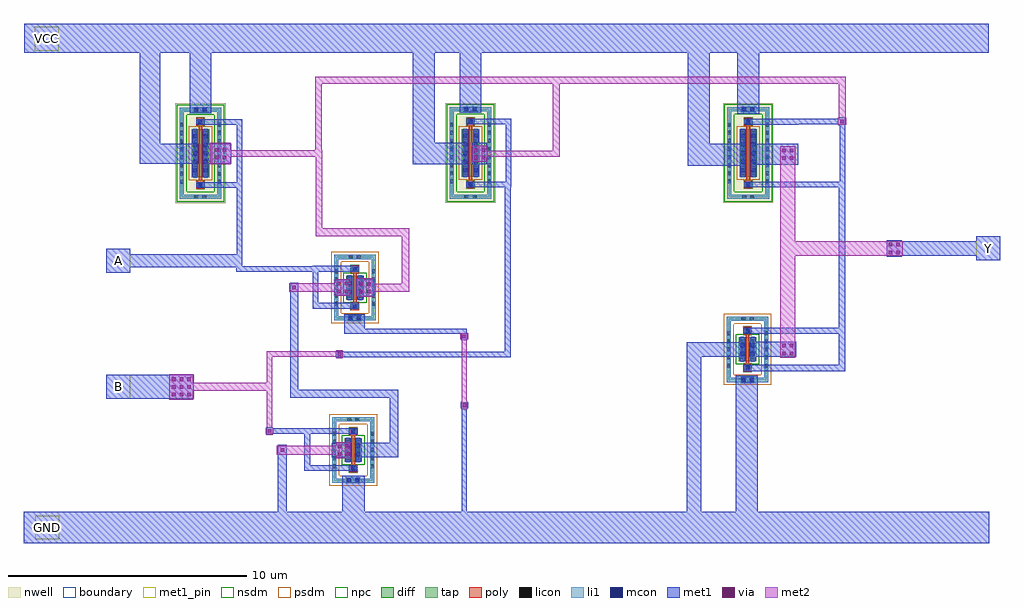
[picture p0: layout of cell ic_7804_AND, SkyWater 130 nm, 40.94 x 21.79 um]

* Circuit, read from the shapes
.subckt ic_7804_AND A B GND VCC Y
XM1 n1 B GND GND sky130_fd_pr__nfet_01v8 w=1 l=0.15
XM2 n2 A n1 GND sky130_fd_pr__nfet_01v8 w=1 l=0.15
XM3 Y n2 GND GND sky130_fd_pr__nfet_01v8 w=1 l=0.15
XM4 n2 A VCC VCC sky130_fd_pr__pfet_01v8 w=2 l=0.15
XM5 n2 B VCC VCC sky130_fd_pr__pfet_01v8 w=2 l=0.15
XM6 Y n2 VCC VCC sky130_fd_pr__pfet_01v8 w=2 l=0.15
.ends

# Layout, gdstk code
import gdstk
lib = gdstk.Library(unit=1e-6, precision=1e-09)
def R(c, l, rs):  # rectangles x0, y0, x1, y1
    for r in rs: c.add(gdstk.rectangle(r[:2], r[2:], *l))
def A(c, l, x, y, w, h, nx, ny, dx, dy):  # array of equal rectangles
    R(c, l, [(x+i*dx, y+j*dy, x+i*dx+w, y+j*dy+h) for i in range(nx) for j in range(ny)])
nwell = (64, 20)
diff = (65, 20)
tap = (65, 44)
poly = (66, 20)
licon = (66, 44)
li1 = (67, 20)
mcon = (67, 44)
met1_pin = (68, 16)
met1 = (68, 20)
via = (68, 44)
met2 = (69, 20)
nsdm = (93, 44)
psdm = (94, 20)
npc = (95, 20)
boundary = (235, 4)

sky130_fd_pr__nfet_01v8_ = lib.new_cell('sky130_fd_pr__nfet_01v8_648S5X')
R(sky130_fd_pr__nfet_01v8_, diff, [(-0.365,-0.5,0.365,0.5)])
R(sky130_fd_pr__nfet_01v8_, tap, [(-0.875,-1.37,0.875,-1.2), (-0.875,-1.2,-0.705,1.2), (0.705,-1.2,0.875,1.2), (-0.875,1.2,0.875,1.37)])
R(sky130_fd_pr__nfet_01v8_, poly, [(-0.165,-0.94,0.165,-0.61), (-0.075,-0.61,0.075,0.61), (-0.165,0.61,0.165,0.94)])
A(sky130_fd_pr__nfet_01v8_, licon, -0.875, -0.765, 0.17, 0.17, 1, 5, 0, 0.34)
A(sky130_fd_pr__nfet_01v8_, licon, 0.705, -0.765, 0.17, 0.17, 1, 5, 0, 0.34)
A(sky130_fd_pr__nfet_01v8_, licon, -0.305, -0.425, 0.17, 0.17, 1, 3, 0, 0.34)
A(sky130_fd_pr__nfet_01v8_, licon, 0.135, -0.425, 0.17, 0.17, 1, 3, 0, 0.34)
R(sky130_fd_pr__nfet_01v8_, licon, [(-0.255,-1.37,-0.085,-1.2), (0.085,-1.37,0.255,-1.2), (-0.085,-0.86,0.085,-0.69), (-0.085,0.69,0.085,0.86), (-0.255,1.2,-0.085,1.37), (0.085,1.2,0.255,1.37)])
R(sky130_fd_pr__nfet_01v8_, li1, [(-0.875,-1.37,0.875,-1.2), (-0.875,-1.2,-0.705,1.2), (0.705,-1.2,0.875,1.2), (-0.165,-0.86,0.165,-0.69), (-0.305,-0.52,-0.135,0.52), (0.135,-0.52,0.305,0.52), (-0.165,0.69,0.165,0.86), (-0.875,1.2,0.875,1.37)])
R(sky130_fd_pr__nfet_01v8_, mcon, [(-0.085,-0.86,0.085,-0.69), (-0.305,-0.265,-0.135,-0.095), (0.135,-0.265,0.305,-0.095), (-0.305,0.095,-0.135,0.265), (0.135,0.095,0.305,0.265), (-0.085,0.69,0.085,0.86)])
R(sky130_fd_pr__nfet_01v8_, met1, [(-0.145,-0.89,0.145,-0.66), (-0.335,-0.5,-0.105,0.5), (0.105,-0.5,0.335,0.5), (-0.145,0.66,0.145,0.89)])
R(sky130_fd_pr__nfet_01v8_, nsdm, [(-0.49,-0.625,0.49,0.625)])
R(sky130_fd_pr__nfet_01v8_, psdm, [(-1,-1.495,1,-1.075), (-1,-1.075,-0.58,1.075), (0.58,-1.075,1,1.075), (-1,1.075,1,1.495)])
R(sky130_fd_pr__nfet_01v8_, npc, [(-0.185,-0.96,0.185,-0.59), (-0.185,0.59,0.185,0.96)])
R(sky130_fd_pr__nfet_01v8_, boundary, [(-0.79,-1.285,0.79,1.285)])

sky130_fd_pr__pfet_01v8_ = lib.new_cell('sky130_fd_pr__pfet_01v8_XGAKDL')
R(sky130_fd_pr__pfet_01v8_, nwell, [(-1.055,-2.095,1.055,2.095)])
R(sky130_fd_pr__pfet_01v8_, diff, [(-0.365,-1,0.365,1)])
R(sky130_fd_pr__pfet_01v8_, tap, [(-0.875,-1.915,0.875,-1.745), (-0.875,-1.745,-0.705,1.745), (0.705,-1.745,0.875,1.745), (-0.875,1.745,0.875,1.915)])
R(sky130_fd_pr__pfet_01v8_, poly, [(-0.165,-1.485,0.165,-1.155), (-0.075,-1.155,0.075,1.155), (-0.165,1.155,0.165,1.485)])
A(sky130_fd_pr__pfet_01v8_, licon, -0.875, -1.275, 0.17, 0.17, 1, 8, 0, 0.34)
A(sky130_fd_pr__pfet_01v8_, licon, 0.705, -1.275, 0.17, 0.17, 1, 8, 0, 0.34)
A(sky130_fd_pr__pfet_01v8_, licon, -0.305, -0.935, 0.17, 0.17, 1, 6, 0, 0.34)
A(sky130_fd_pr__pfet_01v8_, licon, 0.135, -0.935, 0.17, 0.17, 1, 6, 0, 0.34)
R(sky130_fd_pr__pfet_01v8_, licon, [(-0.255,-1.915,-0.085,-1.745), (0.085,-1.915,0.255,-1.745), (-0.085,-1.405,0.085,-1.235), (-0.085,1.235,0.085,1.405), (-0.255,1.745,-0.085,1.915), (0.085,1.745,0.255,1.915)])
R(sky130_fd_pr__pfet_01v8_, li1, [(-0.875,-1.915,0.875,-1.745), (-0.875,-1.745,-0.705,1.745), (0.705,-1.745,0.875,1.745), (-0.165,-1.405,0.165,-1.235), (-0.305,-1.02,-0.135,1.02), (0.135,-1.02,0.305,1.02), (-0.165,1.235,0.165,1.405), (-0.875,1.745,0.875,1.915)])
A(sky130_fd_pr__pfet_01v8_, mcon, -0.305, -0.805, 0.17, 0.17, 1, 5, 0, 0.36)
A(sky130_fd_pr__pfet_01v8_, mcon, 0.135, -0.805, 0.17, 0.17, 1, 5, 0, 0.36)
R(sky130_fd_pr__pfet_01v8_, mcon, [(-0.085,-1.405,0.085,-1.235), (-0.085,1.235,0.085,1.405)])
R(sky130_fd_pr__pfet_01v8_, met1, [(-0.145,-1.435,0.145,-1.205), (-0.335,-1,-0.105,1), (0.105,-1,0.335,1), (-0.145,1.205,0.145,1.435)])
R(sky130_fd_pr__pfet_01v8_, nsdm, [(-1,-2.04,1,-1.62), (-1,-1.62,-0.58,1.62), (0.58,-1.62,1,1.62), (-1,1.62,1,2.04)])
R(sky130_fd_pr__pfet_01v8_, psdm, [(-0.49,-1.125,0.49,1.125)])
R(sky130_fd_pr__pfet_01v8_, npc, [(-0.185,-1.505,0.185,-1.135), (-0.185,1.135,0.185,1.505)])
R(sky130_fd_pr__pfet_01v8_, boundary, [(-0.79,-1.83,0.79,1.83)])

ic_7804_and = lib.new_cell('ic_7804_AND')
R(ic_7804_and, nwell, [(16.105,0.205,16.705,1.125), (26.99,2.345,27.91,2.4)])
R(ic_7804_and, li1, [(10.565,-13.145,11.18,-12.9), (27.125,-8.95,27.695,-8.68), (10.64,-6.35,11.23,-6.1), (4.14,2.41,4.795,2.635), (15.48,2.42,16.105,2.65), (27.13,2.42,27.755,2.65)])
R(ic_7804_and, mcon, [(10.605,-13.11,10.775,-12.94), (10.965,-13.11,11.135,-12.94), (27.145,-8.9,27.315,-8.73), (27.505,-8.9,27.675,-8.73), (10.67,-6.31,10.84,-6.14), (11.03,-6.31,11.2,-6.14), (4.2,2.435,4.37,2.605), (4.56,2.435,4.73,2.605), (15.525,2.45,15.695,2.62), (15.885,2.45,16.055,2.62), (27.175,2.45,27.345,2.62), (27.535,2.45,27.705,2.62)])
R(ic_7804_and, met1_pin, [(-2.455,-15.5,-1.455,-14.5), (0.52,-9.605,1.52,-8.605), (0.515,-4.315,1.515,-3.315), (37.005,-3.79,38.005,-2.79), (-2.475,4.995,-1.475,5.995)])
R(ic_7804_and, met1, [(-2.935,-15.66,37.545,-14.345), (7.705,-14.345,8.095,-11.535), (10.425,-14.345,11.355,-12.83), (15.435,-14.345,15.64,-10.005), (24.865,-14.345,25.48,-7.84), (26.915,-14.345,27.845,-8.645), (8.825,-12.63,11.03,-12.39), (8.825,-12.39,9.065,-11.075), (9.965,-12.065,10.8,-11.46), (10.99,-12.06,12.755,-11.455), (10.13,-11.46,10.8,-11.455), (12.415,-11.455,12.755,-9.555), (7.235,-11.12,7.495,-11.075), (7.235,-11.075,11.04,-10.84), (7.235,-10.84,7.495,-10.8), (8.835,-10.84,11.04,-10.835), (15.375,-10.005,15.695,-9.745), (0.52,-9.605,4.195,-8.605), (8.225,-9.555,12.755,-9.215), (8.225,-9.215,8.565,-7.11), (27.255,-8.44,31.515,-8.175), (31.25,-8.175,31.515,-6.88), (10.14,-7.865,10.46,-7.855), (10.14,-7.855,17.475,-7.62), (27.505,-7.845,29.45,-7.22), (24.865,-7.84,27.32,-7.225), (10.14,-7.62,10.46,-7.605), (17.24,-7.62,17.475,-0.73), (15.4,-7.145,15.66,-6.88), (8.225,-7.11,8.57,-6.77), (10.82,-6.885,11.03,-6.88), (10.49,-6.88,15.66,-6.825), (27.26,-6.88,31.515,-6.615), (10.49,-6.825,15.63,-6.675), (8.225,-6.77,8.565,-4.735), (10.49,-6.675,11.36,-6.05), (31.25,-6.615,31.515,-0.735), (9.175,-5.82,11.065,-5.58), (9.175,-5.58,9.415,-4.275), (11.035,-5.3,11.49,-5.295), (10.995,-5.295,11.765,-4.585), (10.07,-5.26,10.805,-4.61), (0.515,-4.315,1.515,-4.085), (5.97,-4.275,9.415,-4.27), (5.97,-4.27,11.075,-4.085), (0.515,-4.085,11.075,-4.04), (0.515,-4.04,6.22,-3.54), (9.175,-4.04,11.075,-4.03), (37.005,-3.79,38.005,-3.61), (33.265,-3.64,33.89,-3.61), (33.265,-3.61,38.005,-2.985), (0.515,-3.54,1.515,-3.315), (5.985,-3.54,6.22,-0.75), (33.265,-2.985,33.89,-2.955), (37.005,-2.985,38.005,-2.79), (4.325,-0.75,6.225,-0.515), (27.305,-0.735,31.515,-0.495), (15.625,-0.73,17.505,-0.495), (5.985,-0.515,6.225,-0.51), (5.99,-0.51,6.225,1.885), (17.24,-0.495,17.505,-0.49), (31.275,-0.495,31.515,1.86), (17.27,-0.49,17.505,1.905), (24.905,0.165,27.35,1.09), (27.54,0.215,29.55,1.1), (13.365,0.225,15.69,1.145), (15.875,0.225,16.475,0.38), (1.92,0.255,4.38,1.105), (4.57,0.255,5.765,1.105), (15.845,0.38,16.505,0.98), (15.875,0.98,16.475,1.145), (24.905,1.09,25.83,4.91), (1.92,1.105,2.77,4.91), (13.365,1.145,14.285,4.91), (31.235,1.86,31.52,1.91), (4.325,1.885,6.225,2.12), (27.31,1.895,29.545,1.91), (15.64,1.905,17.505,2.14), (27.31,1.91,31.52,2.135), (31.235,2.135,31.52,2.21), (26.99,2.345,27.91,4.91), (4.02,2.365,4.91,4.91), (15.335,2.39,16.25,4.91), (-2.92,4.91,37.525,6.125)])
A(ic_7804_and, via, 3.27, -9.5, 0.15, 0.15, 3, 3, 0.32, 0.32)
R(ic_7804_and, via, [(10.23,-11.995,10.38,-11.845), (10.55,-11.995,10.7,-11.845), (7.825,-11.835,7.975,-11.685), (10.23,-11.675,10.38,-11.525), (10.55,-11.675,10.7,-11.525), (7.29,-11.035,7.44,-10.885), (15.46,-9.95,15.61,-9.8), (10.225,-7.81,10.375,-7.66), (28.87,-7.77,29.02,-7.62), (29.19,-7.77,29.34,-7.62), (28.87,-7.45,29.02,-7.3), (29.19,-7.45,29.34,-7.3), (15.455,-7.06,15.605,-6.91), (11.145,-5.175,11.295,-5.025), (11.465,-5.175,11.615,-5.025), (10.19,-5.17,10.34,-5.02), (10.51,-5.17,10.66,-5.02), (8.32,-5.01,8.47,-4.86), (11.145,-4.855,11.295,-4.705), (11.465,-4.855,11.615,-4.705), (10.19,-4.85,10.34,-4.7), (10.51,-4.85,10.66,-4.7), (33.34,-3.535,33.49,-3.385), (33.66,-3.535,33.81,-3.385), (33.34,-3.215,33.49,-3.065), (33.66,-3.215,33.81,-3.065), (28.87,0.42,29.02,0.57), (29.19,0.42,29.34,0.57), (5.075,0.445,5.225,0.595), (5.395,0.445,5.545,0.595), (15.94,0.445,16.09,0.595), (16.26,0.445,16.41,0.595), (28.87,0.74,29.02,0.89), (29.19,0.74,29.34,0.89), (5.075,0.765,5.225,0.915), (5.395,0.765,5.545,0.915), (15.94,0.765,16.09,0.915), (16.26,0.765,16.41,0.915), (31.3,1.96,31.45,2.11)])
R(ic_7804_and, met2, [(10.16,-12.095,10.77,-11.955), (7.675,-11.955,10.77,-11.565), (10.16,-11.565,10.77,-11.425), (7.205,-11.09,7.525,-10.83), (7.245,-10.83,7.48,-9.265), (15.405,-10.035,15.665,-9.715), (15.43,-9.715,15.635,-7.115), (3.165,-9.635,4.165,-9.265), (3.165,-9.265,7.48,-8.94), (3.165,-8.94,4.165,-8.575), (7.245,-8.94,7.48,-7.85), (10.17,-7.895,10.43,-7.85), (28.795,-7.875,29.42,-3.61), (7.245,-7.85,10.43,-7.615), (10.17,-7.615,10.43,-7.575), (15.37,-7.115,15.69,-6.855), (11.025,-5.325,11.735,-5.105), (10.1,-5.29,10.75,-5.105), (8.195,-5.105,10.75,-4.765), (11.025,-5.105,13.235,-4.77), (11.025,-4.77,11.735,-4.555), (12.9,-4.77,13.235,-2.79), (10.1,-4.765,10.75,-4.58), (28.795,-3.61,33.92,-2.985), (28.795,-2.985,29.42,1), (9.3,-2.79,13.235,-2.455), (9.3,-2.455,9.57,0.54), (4.885,0.225,5.735,0.54), (15.875,0.35,16.475,0.55), (4.885,0.54,9.57,0.825), (15.875,0.55,19.54,0.81), (15.875,0.81,16.475,1.01), (19.25,0.81,19.54,3.615), (4.885,0.825,5.735,1.135), (9.28,0.825,9.565,3.62), (31.205,1.89,31.55,2.18), (31.235,2.18,31.525,3.615), (18.165,3.615,31.525,3.62), (9.28,3.62,31.525,3.905)])
ic_7804_and.add(gdstk.Reference(sky130_fd_pr__nfet_01v8_, (27.415,-7.53)))
ic_7804_and.add(gdstk.Reference(sky130_fd_pr__pfet_01v8_, (27.445,0.705)))
ic_7804_and.add(gdstk.Reference(sky130_fd_pr__nfet_01v8_, (10.875,-11.75)))
ic_7804_and.add(gdstk.Reference(sky130_fd_pr__pfet_01v8_, (15.795,0.705)))
ic_7804_and.add(gdstk.Reference(sky130_fd_pr__pfet_01v8_, (4.465,0.695)))
ic_7804_and.add(gdstk.Reference(sky130_fd_pr__nfet_01v8_, (10.945,-4.94)))
ic_7804_and.add(gdstk.Label('A', (1.015,-3.815), layer=68, texttype=5))
ic_7804_and.add(gdstk.Label('B', (1.02,-9.105), layer=68, texttype=5))
ic_7804_and.add(gdstk.Label('Y', (37.505,-3.29), layer=68, texttype=5))
ic_7804_and.add(gdstk.Label('VCC', (-1.975,5.495), layer=68, texttype=5))
ic_7804_and.add(gdstk.Label('GND', (-1.955,-15), layer=68, texttype=5))

lib.write_gds('ic_7804_AND.gds')
